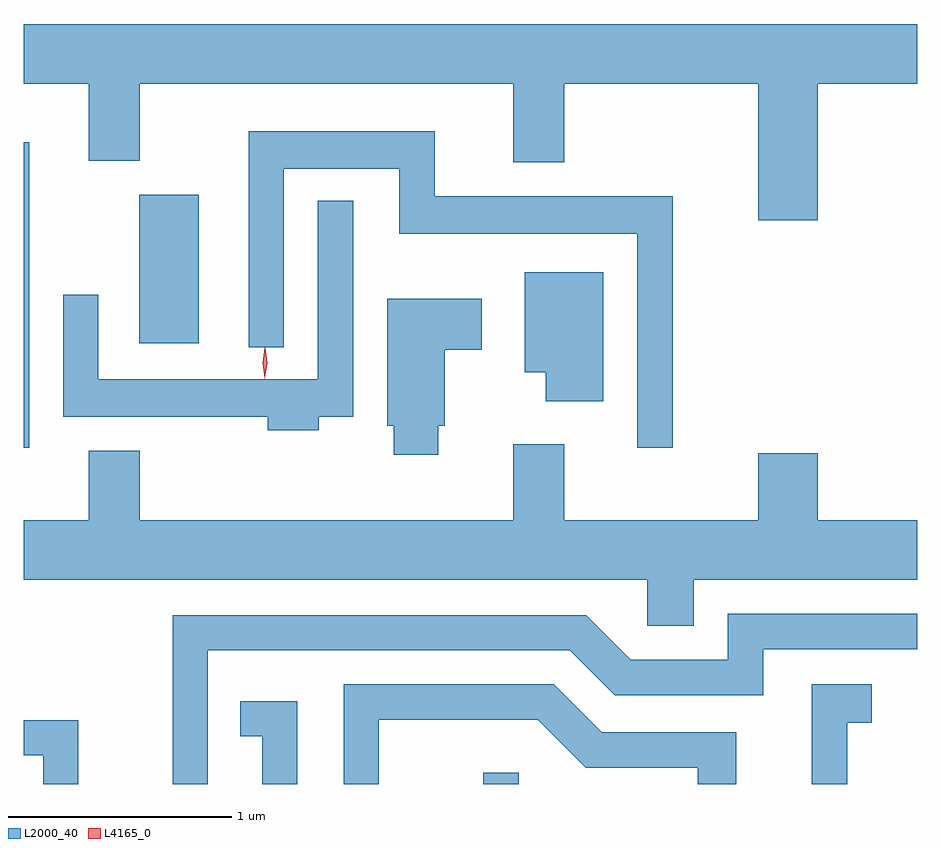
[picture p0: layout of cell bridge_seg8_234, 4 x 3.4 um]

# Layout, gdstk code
import gdstk
lib = gdstk.Library(unit=1e-6, precision=1e-09)
def R(c, l, rs):  # rectangles x0, y0, x1, y1
    for r in rs: c.add(gdstk.rectangle(r[:2], r[2:], *l))
def P(c, l, *ps):  # polygons
    for p in ps: c.add(gdstk.Polygon(p, *l))
L2000_40 = (2000, 40)
L4165_0 = (4165, 0)

bridge_seg8_234 = lib.new_cell('bridge_seg8_234')
R(bridge_seg8_234, L2000_40, [(1092.966,1871.023,1093.124,1871.073), (1090.909,1872.528,1090.934,1873.894), (1091.426,1872.996,1091.694,1873.659)])
P(bridge_seg8_234, L2000_40, [(1094.464,1874.156),(1094.909,1874.156),(1094.909,1874.424),(1090.909,1874.424),(1090.909,1874.156),(1091.201,1874.156),(1091.201,1873.811),(1091.429,1873.811),(1091.429,1874.156),(1093.101,1874.156),(1093.101,1873.806),(1093.329,1873.806),(1093.329,1874.156),(1094.196,1874.156),(1094.196,1873.546),(1094.464,1873.546)],
  [(1093.814,1873.654),(1092.749,1873.654),(1092.749,1873.944),(1091.916,1873.944),(1091.916,1872.978),(1092.074,1872.978),(1092.074,1873.776),(1092.591,1873.776),(1092.591,1873.486),(1093.656,1873.486),(1093.656,1872.528),(1093.814,1872.528)],
  [(1092.229,1872.666),(1092.384,1872.666),(1092.384,1873.633),(1092.226,1873.633),(1092.226,1872.834),(1091.244,1872.834),(1091.244,1873.213),(1091.086,1873.213),(1091.086,1872.666),(1092.001,1872.666),(1092.001,1872.606),(1092.229,1872.606)],
  [(1093.504,1873.314),(1093.151,1873.314),(1093.151,1872.866),(1093.246,1872.866),(1093.246,1872.736),(1093.504,1872.736)],
  [(1092.764,1872.626),(1092.794,1872.626),(1092.794,1872.966),(1092.959,1872.966),(1092.959,1873.194),(1092.536,1873.194),(1092.536,1872.626),(1092.566,1872.626),(1092.566,1872.496),(1092.764,1872.496)],
  [(1093.909,1871.936),(1094.909,1871.936),(1094.909,1872.204),(1094.464,1872.204),(1094.464,1872.504),(1094.196,1872.504),(1094.196,1872.204),(1093.329,1872.204),(1093.329,1872.544),(1093.101,1872.544),(1093.101,1872.204),(1091.429,1872.204),(1091.429,1872.514),(1091.201,1872.514),(1091.201,1872.204),(1090.909,1872.204),(1090.909,1871.936),(1093.701,1871.936),(1093.701,1871.731),(1093.909,1871.731)],
  [(1091.734,1871.621),(1093.354,1871.621),(1093.554,1871.421),(1094.219,1871.421),(1094.219,1871.626),(1094.909,1871.626),(1094.909,1871.784),(1094.061,1871.784),(1094.061,1871.579),(1093.627,1871.579),(1093.427,1871.779),(1091.576,1871.779),(1091.576,1871.023),(1091.734,1871.023)],
  [(1092.499,1871.311),(1093.209,1871.311),(1093.424,1871.096),(1093.926,1871.096),(1093.926,1871.023),(1094.099,1871.023),(1094.099,1871.254),(1093.497,1871.254),(1093.282,1871.469),(1092.341,1871.469),(1092.341,1871.023),(1092.499,1871.023)],
  [(1094.594,1871.296),(1094.704,1871.296),(1094.704,1871.469),(1094.436,1871.469),(1094.436,1871.023),(1094.594,1871.023)],
  [(1092.134,1871.394),(1091.878,1871.394),(1091.878,1871.236),(1091.976,1871.236),(1091.976,1871.023),(1092.134,1871.023)],
  [(1091.154,1871.309),(1090.909,1871.309),(1090.909,1871.151),(1090.996,1871.151),(1090.996,1871.023),(1091.154,1871.023)])
P(bridge_seg8_234, L4165_0, [(1091.989,1872.837),(1091.988,1872.838),(1091.979,1872.907),(1091.989,1872.976),(1091.99,1872.976),(1091.99,1872.976),(1091.999,1872.907),(1091.989,1872.838)])

lib.write_gds('bridge_seg8_234.gds')
